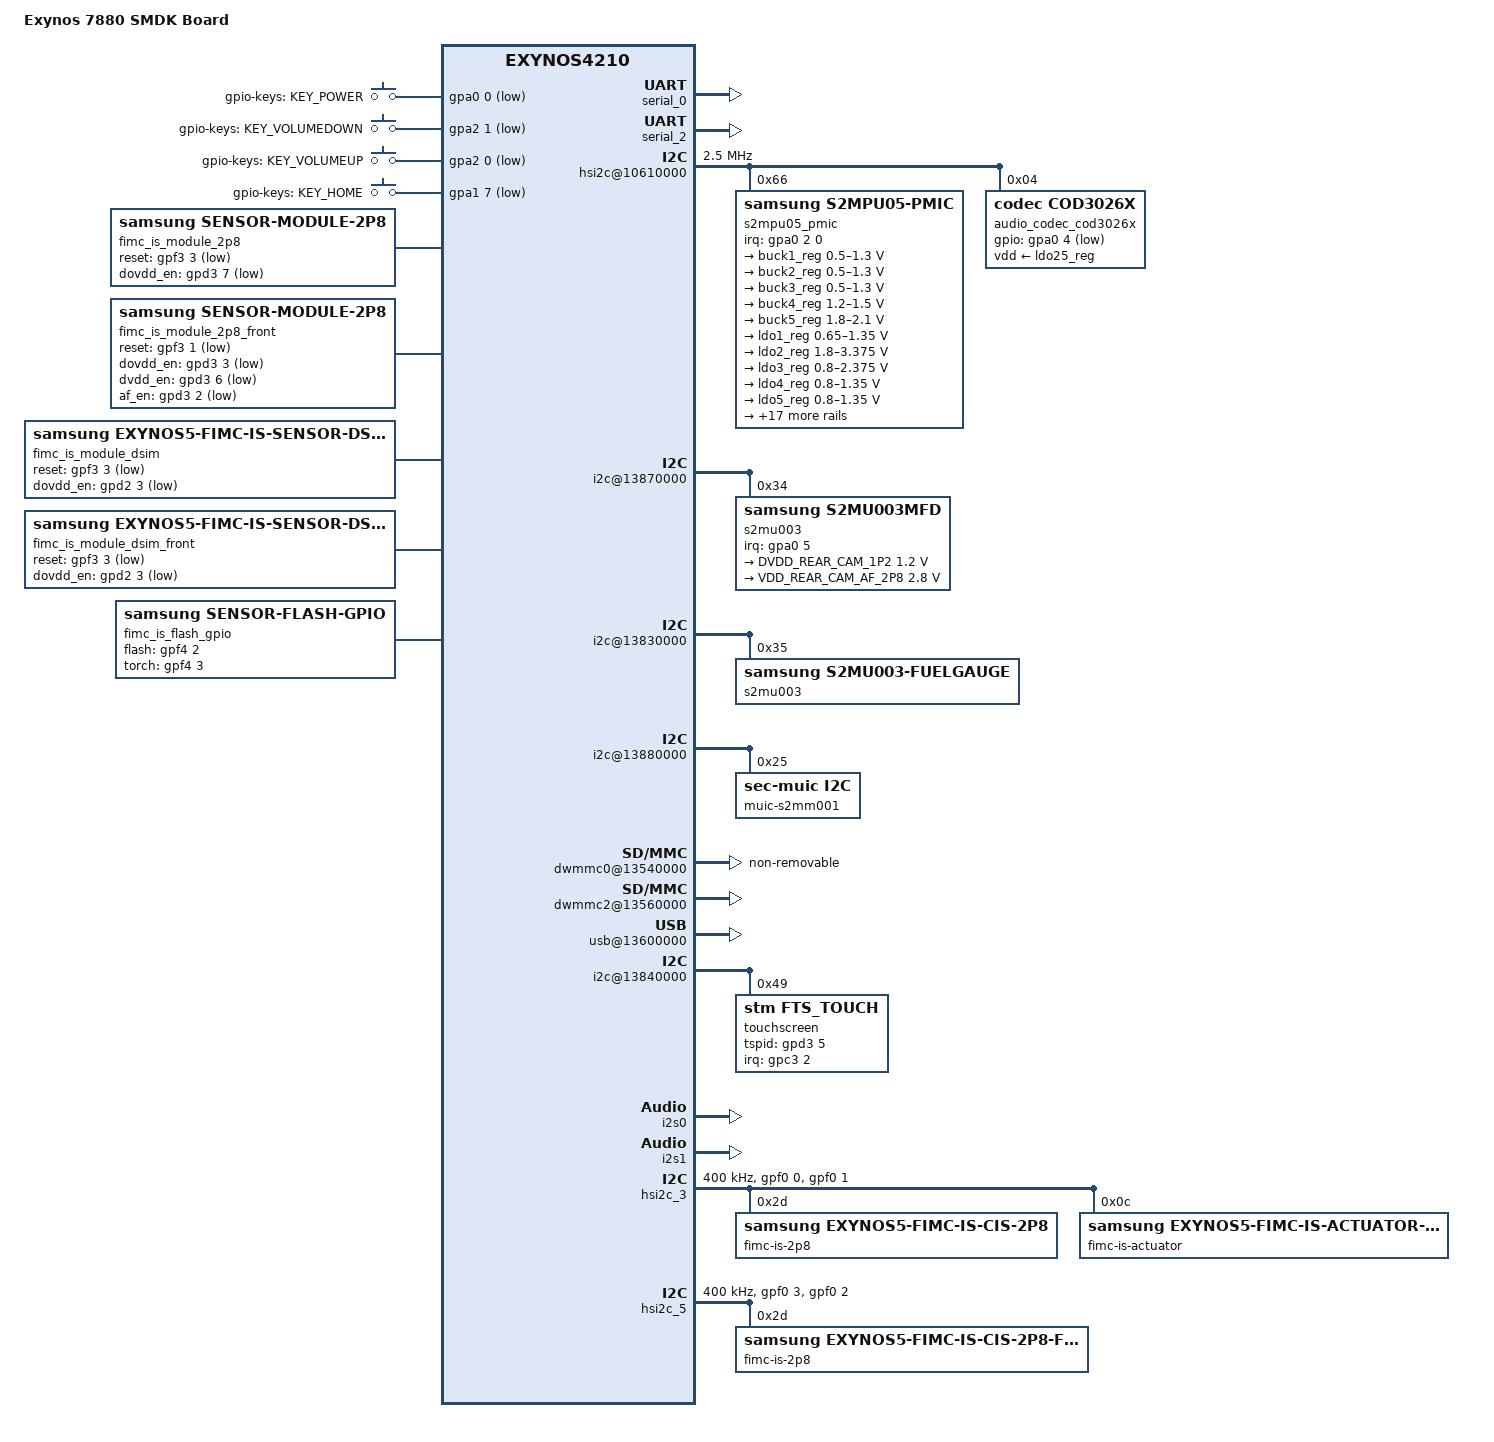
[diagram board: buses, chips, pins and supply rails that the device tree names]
/*
 * SAMSUNG SMDK7880 board device tree source
 *
 * Copyright (c) 2015 Samsung Electronics Co., Ltd.
 *		http://www.samsung.com
 *
 * This program is free software; you can redistribute it and/or modify
 * it under the terms of the GNU General Public License version 2 as
 * published by the Free Software Foundation.
*/

/dts-v1/;
#include "exynos7880-rmem.dtsi"
#include "exynos7880.dtsi"
#include "exynos7880-modem-sh325ap.dtsi"

/ {
	model = "Exynos 7880 SMDK Board";
	compatible = "samsung,exynos7880", "samsung,exynos4210";

	memory@40000000 {
		device_type = "memory";
		reg = <0x0 0x40000000 0xC0000000>;
	};

	chosen {
		bootargs = "earlycon=exynos,0x13820000,115200n8 console=ttySAC2,115200 ess_setup=0x46000000 clk_ignore_unused androidboot.hardware=samsungexynos7880 firmware_class.path=/vendor/firmware reserve-fimc=0";
		linux,initrd-start = <0x52000000>;
		linux,initrd-end = <0x521FFFFF>;
	};

	fixed-rate-clocks {
		oscclk {
			compatible = "samsung,exynos7880-oscclk";
			clock-frequency = <26000000>;
		};
	};

	serial_0: uart@13810000 {
		status = "okay";
	};

	serial_2: uart@13820000 {
		status = "okay";
	};

        gpio_keys {
                compatible = "gpio-keys";
                pinctrl-names = "default";
                pinctrl-0 = <&key_power &key_voldown &key_volup &key_home>;
                #address-cells = <1>;
                #size-cells = <0>;

                button@1 {
                        label = "gpio-keys: KEY_POWER";
                        interrupts = <0 0>;
                        interrupt-parent = <&gpa0>;
                        linux,code = <116>;
                        gpios = <&gpa0 0 0xf>;
                        gpio-key,wakeup = <1>;
                };
                button@2 {
                        label = "gpio-keys: KEY_VOLUMEDOWN";
                        interrupts = <1 0>;
                        interrupt-parent = <&gpa2>;
                        linux,code = <114>;
                        gpios = <&gpa2 1 0xf>;
                };
                button@3 {
                        label = "gpio-keys: KEY_VOLUMEUP";
                        interrupts = <0 0>;
                        interrupt-parent = <&gpa2>;
                        linux,code = <115>;
                        gpios = <&gpa2 0 0xf>;
                };
                button@4 {
                        label = "gpio-keys: KEY_HOME";
                        interrupts = <7 0 0>;
                        interrupt-parent = <&gpa1>;
                        linux,code = <172>;
                        gpios = <&gpa1 7 0xf>;
                        gpio-key,wakeup = <1>;
                };
        };

	pinctrl@139B0000 {
		/* Warm reset information from AP */
		pm_wrsti: pm-wrsti {
			samsung,pins = "gpd1-0";
			samsung,pin-con-pdn = <3>;
		};
	};

	pinctrl@139F0000 {
		pmic_irq: pmic-irq {
			samsung,pins = "gpa0-2";
			samsung,pin-pud = <3>;
			samsung,pin-drv = <3>;
		};

		cod3026_irq: cod3026-irq {
			samsung,pins = "gpa0-4";
			samsung,pin-pud = <3>;
			samsung,pin-drv = <3>;
		};

		if_irq: if-irq {
			samsung,pins = "gpa0-5";
			samsung,pin-pud = <3>;
			samsung,pin-drv = <3>;
		};
	};

	hsi2c@10610000 {
		status = "okay";
		samsung,hs-mode;
		clock-frequency = <2500000>;
		samsung,hsi2c-batcher;
		#address-cells = <1>;
		#size-cells = <0>;

		s2mpu05_pmic@66 {
			compatible = "samsung,s2mpu05-pmic";
			reg = <0x66>;
			ten-bit-address;
			interrupts = <2 0 0>;
			interrupt-parent = <&gpa0>;
			pinctrl-names = "default";
			pinctrl-0 = <&pmic_irq &pm_wrsti>;
			g3d_en = <1>; /* 1 : enable , 0 : disable */
			buck3en_pin = "etc1-3";
			buck3en_addr = "139B0080.pinctrl";
			/* RTC: wtsr/smpl */
			wtsr_en = <1>; /* enable */
			smpl_en = <1>; /* enable */
			wtsr_timer_val = <3>;   /* 1000ms */
			smpl_timer_val = <4>;   /* 500ms */
			check_jigon = <0>; /* do not check jigon */
			/* RTC: If it's first boot, reset rtc to 1/1/2016 12:00:00(Fri) */
			init_time,sec = <0>;
			init_time,min = <0>;
			init_time,hour = <12>;
			init_time,mday = <1>;
			init_time,mon = <0>;
			init_time,year = <116>;
			init_time,wday = <5>;

			regulators {
				buck1_reg: BUCK1 {
					regulator-name = "BUCK1";
					regulator-min-microvolt = <500000>;
					regulator-max-microvolt = <1300000>;
					regulator-always-on;
					regulator-boot-on;
					regulator-ramp-delay = <12000>;
					regulator-initial-mode = <1>;
					regulator-expected-consumer = <2>;
				};

				buck2_reg: BUCK2 {
					regulator-name = "BUCK2";
					regulator-min-microvolt = <500000>;
					regulator-max-microvolt = <1300000>;
					regulator-always-on;
					regulator-boot-on;
					regulator-ramp-delay = <12000>;
					regulator-initial-mode = <3>;
					regulator-expected-consumer = <4>;
				};

				buck3_reg: BUCK3 {
					regulator-name = "vdd_g3d";
					regulator-min-microvolt = <500000>;
					regulator-max-microvolt = <1300000>;
					regulator-always-on;
					regulator-boot-on;
					regulator-ramp-delay = <12000>;
					regulator-initial-mode = <2>;		/* MIF_G3D */
				};

				buck4_reg: BUCK4 {
					regulator-name = "BUCK4";
					regulator-min-microvolt = <1200000>;
					regulator-max-microvolt = <1500000>;
					regulator-always-on;
					regulator-boot-on;
					regulator-ramp-delay = <12000>;
					regulator-initial-mode = <3>;
				};

				buck5_reg: BUCK5 {
					regulator-name = "BUCK5";
					regulator-min-microvolt = <1800000>;
					regulator-max-microvolt = <2100000>;
					regulator-always-on;
					regulator-boot-on;
					regulator-ramp-delay = <12000>;
					regulator-initial-mode = <3>;
				};

				ldo1_reg: LDO1 {
					regulator-name = "vdd_ldo1";
					regulator-min-microvolt = <650000>;
					regulator-max-microvolt = <1350000>;
					regulator-always-on;
					regulator-boot-on;
					regulator-ramp-delay = <12000>;
					regulator-initial-mode = <3>;
				};

				ldo2_reg: LDO2 {
					regulator-name = "vqmmc";
					regulator-min-microvolt = <1800000>;
					regulator-max-microvolt = <3375000>;
					regulator-boot-on;
					regulator-always-on;
					regulator-ramp-delay = <12000>;
					regulator-initial-mode = <1>;
				};

				ldo3_reg: LDO3 {
					regulator-name = "vdd_ldo3";
					regulator-min-microvolt = <800000>;
					regulator-max-microvolt = <2375000>;
					regulator-boot-on;
					regulator-always-on;
					regulator-ramp-delay = <12000>;
					regulator-initial-mode = <3>;
				};

				ldo4_reg: LDO4 {
					regulator-name = "vdd_ldo4";
					regulator-min-microvolt = <800000>;
					regulator-max-microvolt = <1350000>;
					regulator-boot-on;
					regulator-always-on;
					regulator-ramp-delay = <12000>;
					regulator-initial-mode = <2>;
				};

				ldo5_reg: LDO5 {
					regulator-name = "vdd_ldo5";
					regulator-min-microvolt = <800000>;
					regulator-max-microvolt = <1350000>;
					regulator-boot-on;
					regulator-always-on;
					regulator-ramp-delay = <12000>;
					regulator-initial-mode = <3>;
				};

				ldo6_reg: LDO6 {
					regulator-name = "vdd_ldo6";
					regulator-min-microvolt = <800000>;
					regulator-max-microvolt = <1350000>;
					regulator-boot-on;
					regulator-always-on;
					regulator-ramp-delay = <12000>;
					regulator-initial-mode = <2>;
				};

				ldo7_reg: LDO7 {
					regulator-name = "vdd_ldo7";
					regulator-min-microvolt = <800000>;
					regulator-max-microvolt = <2375000>;
					regulator-boot-on;
					regulator-always-on;
					regulator-ramp-delay = <12000>;
					regulator-initial-mode = <1>;
				};

				ldo8_reg: LDO8 {
					regulator-name = "vdd_ldo8";
					regulator-min-microvolt = <1800000>;
					regulator-max-microvolt = <3375000>;
					regulator-boot-on;
					regulator-ramp-delay = <12000>;
					regulator-initial-mode = <0>;
				};

				ldo9_reg: LDO9 {
					regulator-name = "vdd_ldo9";
					regulator-min-microvolt = <650000>;
					regulator-max-microvolt = <1350000>;
					regulator-always-on;
					regulator-ramp-delay = <12000>;
					regulator-initial-mode = <1>;
				};

				ldo10_reg: LDO10 {
					regulator-name = "vdd_ldo10";
					regulator-min-microvolt = <650000>;
					regulator-max-microvolt = <1350000>;
					regulator-always-on;
					regulator-ramp-delay = <12000>;
					regulator-initial-mode = <1>;
				};

				ldo24_reg: LDO24 {
					regulator-name = "vdd_ldo24";
					regulator-min-microvolt = <1800000>;
					regulator-max-microvolt = <1800000>;
					regulator-always-on;
					regulator-ramp-delay = <12000>;
					regulator-initial-mode = <1>;
				};

				ldo25_reg: LDO25 {
					regulator-name = "vdd_ldo25";
					regulator-min-microvolt = <800000>;
					regulator-max-microvolt = <2375000>;
					regulator-always-on;
					regulator-boot-on;
					regulator-ramp-delay = <12000>;
					regulator-initial-mode = <1>;
				};

				ldo26_reg: LDO26 {
					regulator-name = "vdd_ldo26";
					regulator-min-microvolt = <1800000>;
					regulator-max-microvolt = <3375000>;
					regulator-ramp-delay = <12000>;
					regulator-initial-mode = <1>;
					regulator-always-on;
				};

				ldo27_reg: LDO27 {
					regulator-name = "vdd_ldo27";
					regulator-min-microvolt = <800000>;
					regulator-max-microvolt = <2375000>;
					regulator-ramp-delay = <12000>;
					regulator-initial-mode = <1>;
					regulator-always-on;
				};

				ldo28_reg: LDO28 {
					regulator-name = "vmmc";
					regulator-min-microvolt = <1800000>;
					regulator-max-microvolt = <3375000>;
					regulator-always-on;
					regulator-ramp-delay = <12000>;
					regulator-initial-mode = <1>;
				};

				ldo29_reg: LDO29 {
					regulator-name = "vdd_ldo29";
					regulator-min-microvolt = <1800000>;
					regulator-max-microvolt = <3375000>;
					regulator-always-on;
					regulator-ramp-delay = <12000>;
					regulator-initial-mode = <1>;
				};

				ldo30_reg: LDO30 {
					regulator-name = "tsp_io";
					regulator-min-microvolt = <1800000>;
					regulator-max-microvolt = <2375000>;
					regulator-boot-on;
					regulator-always-on;
					regulator-ramp-delay = <12000>;
					regulator-initial-mode = <3>;
				};

				ldo31_reg: LDO31 {
					regulator-name = "vdd_ldo31";
					regulator-min-microvolt = <1800000>;
					regulator-max-microvolt = <3375000>;
					regulator-boot-on;
					regulator-ramp-delay = <12000>;
					regulator-initial-mode = <1>;
				};

				ldo32_reg: LDO32 {
					regulator-name = "vdd_ldo32";
					regulator-min-microvolt = <1800000>;
					regulator-max-microvolt = <3375000>;
					regulator-always-on;
					regulator-ramp-delay = <12000>;
					regulator-initial-mode = <1>;
				};

				ldo33_reg: LDO33 {
					regulator-name = "vdd_ldo33";
					regulator-min-microvolt = <1800000>;
					regulator-max-microvolt = <3375000>;
					regulator-ramp-delay = <12000>;
					regulator-initial-mode = <1>;
				};

				ldo34_reg: LDO34 {
					regulator-name = "vdd_ldo34";
					regulator-min-microvolt = <1800000>;
					regulator-max-microvolt = <3375000>;
					regulator-always-on;
					regulator-ramp-delay = <12000>;
					regulator-initial-mode = <1>;
				};

				ldo35_reg: LDO35 {
					regulator-name = "vdd_ldo35";
					regulator-min-microvolt = <1800000>;
					regulator-max-microvolt = <3375000>;
					regulator-always-on;
					regulator-ramp-delay = <12000>;
					regulator-initial-mode = <1>;
				};
			};
		};

		audio_codec_cod3026x: cod3026x@04 {
			compatible = "codec,cod3026x";
			reg = <0x04>;
			ten-bit-address;
			vdd-supply = <&ldo25_reg>;
			pinctrl-names = "default";
			pinctrl-0 = <&cod3026_irq>;
			interrupt-parent = <&gpa0>;
			gpios = <&gpa0 4 0xf>;
			mic-bias1-voltage = <3>;
			mic-bias2-voltage = <3>;
			mic-bias-ldo-voltage = <3>;
		};
	};

	i2c@13870000 {
		status = "okay";
		s2mu003@34 {
			compatible = "samsung,s2mu003mfd";
			reg = <0x34>;
			fuelgauge_reg = <0x35>;
			pinctrl-names = "default";
			pinctrl-0 = <&if_irq>;
			s2mu003,irq-gpio = <&gpa0 5 0>;

			regulators {
				s2mu003-buck1 {
					regulator-name = "DVDD_REAR_CAM_1P2";
					regulator-min-microvolt = <1200000>;
					regulator-max-microvolt = <1200000>;
				};
				s2mu003-ldo1 {
					regulator-name = "VDD_REAR_CAM_AF_2P8";
					regulator-min-microvolt = <2800000>;
					regulator-max-microvolt = <2800000>;
				};
			};

			leds {
				compatible = "samsung,s2mu003led";
				torch-gpio = <&gpf4 3 0>;
				flash-gpio = <&gpf4 2 0>;

				status = "okay";
				s2mu003-leds1 {
					ledname = "leds-sec1";
					id = <0>;
					brightness = <0x17>;
					timeout = <0x0>;
					max-brightness = <0x15>;
				};

				s2mu003-leds2 {
					ledname = "leds-sec2";
					id = <1>;
					brightness = <0x01>;
					timeout = <0x0>;
					max-brightness = <0xf>;
				};
			};
		};
	};

	s2mu003-charger {
		status = "disable";
		compatible = "samsung,s2mu003-charger";
		battery,is_1MHz_switching = <1>;
		battery,is_fixed_switching = <1>;
		battery,chg_gpio_en = <0>;
		battery,chg_polarity_en = <0>;
		battery,chg_gpio_status = <0>;
		battery,chg_polarity_status = <0>;
		battery,chg_float_voltage = <4400>;
	};

	i2c@13830000 {
		status = "okay";
		s2mu003@34 {
			compatible = "samsung,s2mu003-fuelgauge";
			reg = <0x35>;
			pinctrl-names = "default";
		};
	};

	s2mu003-fuelgauge@35 {
		fuelgauge,fuel_alert_soc = <1>;
		fuelgauge,capacity_max = <1000>;
		fuelgauge,capacity_max_margin = <30>;
		fuelgauge,capacity_min = <0>;
		fuelgauge,capacity_calculation_type = <28>;
		fuelgauge,repeated_fuelalert;
		fuelgauge,type_str = "SDI";
	};

	battery {
		battery,charger_name = "sec-charger";
		battery,fuelgauge_name = "sec-fuelgauge";

		battery,thermal_source = <2>; /* SEC_BATTERY_THERMAL_SOURCE_ADC */
		battery,temp_table_adc = <57 61 71 84 98 138 194 275 391 753 1231>;
		battery,temp_table_data = <600 550 500 450 400 300 200 100 0 (-20) (-40)>;

		battery,input_current_limit = <1800 0 0 1500 460 900 1000 460 1000 0 820 1900 1000 0 0 400 700 1300 300 1000 1500 0 1667 1000 80 1800>;
		battery,fast_charging_current = <2100 0 0 1300 460 1200 1000 460 1200 0 1000 1600 1000 0 0 400 700 1300 300 1000 1500 0 3150 1000 80 1800>;
		battery,full_check_current_1st = <350 0 0 250 250 250 250 250 250 0 250 250 250 0 0 350 350 350 350 350 350 0 350 350 0 350>;
		battery,full_check_current_2nd = <3000 0 0 3000 3000 3000 3000 3000 3000 0 3000 3000 0 0 0 3000 3000 3000 3000 3000 3000 0 3000 3000 3000 3000>;
		battery,input_current_limit_new = <1800 0 0 1500 460 900 1000 460 1000 0 820 1900 1000 0 0 400 700 1300 300 1000 1500 0 1667 1000 80 1800>;
		battery,fast_charging_current_new = <2100 0 0 1700 460 1200 1000 460 1200 0 1000 1600 1000 0 0 400 700 1300 300 1000 1500 0 3150 1000 80 1800>;

	};

	rtc@101A0000 {
		status = "disabled";
	};

	i2c@13880000 {
		status = "okay";
		muic-s2mm001@25 {
			compatible = "sec-muic,i2c";
			reg = <0x25>;
			pinctrl-names = "default";
			muic,muic_int = <&gpa3 2 0>;
		};
	};


        pinctrl@139F0000 {
                key_power: key-power {
                        samsung,pins = "gpa0-0";
                        samsung,pin-function = <0xf>;
                        samsung,pin-pud = <0>;
                        samsung,pin-drv = <0>;
                };

                key_voldown: key-voldown {
                        samsung,pins = "gpa2-1";
                        samsung,pin-function = <0xf>;
                        samsung,pin-pud = <0>;
                        samsung,pin-drv = <0>;
                };

                key_volup: key-volup {
                        samsung,pins = "gpa2-0";
                        samsung,pin-function = <0xf>;
                        samsung,pin-pud = <0>;
                        samsung,pin-drv = <0>;
                };

                key_home: key-home {
                        samsung,pins = "gpa1-7";
                        samsung,pin-function = <0xf>;
                        samsung,pin-pud = <0>;
                        samsung,pin-drv = <0>;
                };
	};

	/*
	pinctrl@139C0000 {
		nfc_pd: gpio-pd {
			samsung,pins = "gpc2-2";
			samsung,pin-function = <0x1>;
			samsung,pin-pud = <0>;
			samsung,pin-drv = <0>;
			samsung,pin-con-pdn = <3>;
			samsung,pin-val = <1>;
		};
	};
	*/

	/* modem_interface */
	mif_pdata {
		reg = <0 0xEFFFF000 0x1000>, <0 0x10000 0x14>;
		/* Set NFC_PD to enable USIM */
		/*
		pinctrl-names = "default";
		pinctrl-0 = <&nfc_pd>;
		*/

		mif,ap_clk_table = <
			/* khz */
			1586000
			1482000
			1378000
			1274000
			1144000
			1040000
			962000
			829000
			757000
			676000
			546000
			449000
			345000
			>;

		mif,mif_clk_table = <
			/* khz */
			933000
			825000
			728000
			667000
			559000
			416000
			273000
			>;
	};

	dwmmc0@13540000 {
		status = "okay";
		num-slots = <1>;
		broken-card-detect;
		bypass-smu;
		fixed_voltage;
		supports-highspeed;
		clock-gate;
		mmc-ddr-1_8v;
		mmc-hs200-1_8v;
		mmc-hs400-1_8v;
		supports-8bit;
		supports-cmd23;
		supports-erase;
		enable-ulp-mode;
		supports-hs400-enhanced-strobe;
		card-init-hwacg-ctrl;
		fifo-depth = <0x40>;
		non-removable;
		desc-size = <4>;
		card-detect-delay = <200>;
		data-timeout = <200>;
		clock-frequency = <800000000>;
		samsung,dw-mshc-ciu-div = <3>;
		samsung,dw-mshc-txdt-crc-timer-fastlimit = <0x34>;
		samsung,dw-mshc-txdt-crc-timer-initval = <0x38>;
		samsung,dw-mshc-ddr200-delay-line = <0x50>;
		samsung,dw-mshc-sdr-timing = <3 0 2 0>;
		samsung,dw-mshc-ddr-timing = <3 0 4 2>;
		samsung,dw-mshc-hs200-timing = <3 0 3 0>;
		samsung,dw-mshc-ddr200-timing = <1 0 2 0>;
		samsung,dw-mshc-ddr200-ulp-timing = <3 0 4 0>;

		num-ref-clks = <12>;
		ciu_clkin = <25 50 50 25 50 100 200 50 50 200 200 200>;

		/* Swapping clock drive strength */
                clk-drive-number = <6>;
                pinctrl-names = "default",
                        "fast-slew-rate-1x",
                        "fast-slew-rate-2x",
                        "fast-slew-rate-3x",
                        "fast-slew-rate-4x",
                        "fast-slew-rate-5x",
                        "fast-slew-rate-6x";
                pinctrl-0 = <&sd0_clk &sd0_cmd &sd0_rdqs &sd0_bus1 &sd0_bus4 &sd0_bus8>;
                pinctrl-1 = <&sd0_clk_fast_slew_rate_1x>;
                pinctrl-2 = <&sd0_clk_fast_slew_rate_2x>;
                pinctrl-3 = <&sd0_clk_fast_slew_rate_3x>;
                pinctrl-4 = <&sd0_clk_fast_slew_rate_4x>;
                pinctrl-5 = <&sd0_clk_fast_slew_rate_5x>;
                pinctrl-6 = <&sd0_clk_fast_slew_rate_6x>;

		slot@0 {
			reg = <0>;
			bus-width = <8>;
		};
	};

	dwmmc1@13550000 {
		status = "disabled";
		num-slots = <1>;
		channel = <1>;
		fixed_voltage;
		clock-gate;
		enable-cclk-on-suspend;
		caps-control;
		supports-highspeed;
		supports-4bit;
		keep-power-in-suspend;
		pm-ignore-notify;
		card-detect-type-external;
		use-broken-voltage;
		use-fine-tuning;
		ignore-phase = <(1 << 7)>;
		fifo-depth = <0x40>;
		card-detect-delay = <200>;
		samsung,dw-mshc-ciu-div = <3>;
		samsung,dw-mshc-sdr-timing = <3 0 2 0>;
		samsung,dw-mshc-ddr-timing = <3 0 2 1>;
		samsung,dw-mshc-sdr50-timing = <3 0 4 2>;
		samsung,dw-mshc-sdr104-timing = <3 0 3 0>;
		clk_pin = "gpr2-0";
		clk_addr = "13750000.pinctrl";
		clk_val = <0x2>;
		clk_str_num = <4>;
		num-ref-clks = <9>;
		ciu_clkin = <25 50 50 25 50 100 200 50 50>;

		pinctrl-names = "default";
		pinctrl-0 = <&sd1_clk &sd1_cmd &sd1_bus1 &sd1_bus4>;
		slot@0 {
			reg = <0>;
			bus-width = <4>;
		};
	};

	decon_f@0x14830000 {
		gpios = <&gpa3 1 0xf>; /* te_signal */
		te_eint {
			/* WEINT_GPA3_PEND(GPA3_1), NWEINT_GPA3_MASK(GPA3_1) */
			reg = <0x0 0x139F0A0C 0x4>, <0x0 0x139F090C 0x4>;
		};
	};

	dsim_0: dsim@0x14800000 {
		lcd_info = <&s6e3ha2>;
		/* lcd reset, power */
		gpios = <&gpd5 2 0x1>, <&gpd5 4 0x1>;
	};

	dsim_1: dsim@0x14810000 {
		lcd_info = <&s6e3ha2>;
		/* lcd reset, power */
		gpios = <&gpd3 4 0x1>, <&gpd1 5 0x1>;
	};

	tmuctrl_0: tmuctrl_CPUCL0@10130000 {
		status = "okay";
		max_trigger_level = <8>;
		non_hw_trigger_levels = <7>;

		/* Throttling Level */
		trigger_levels_0 = <76>;
		trigger_levels_1 = <81>;
		trigger_levels_2 = <86>;
		trigger_levels_3 = <91>;
		trigger_levels_4 = <96>;
		trigger_levels_5 = <101>;
		trigger_levels_6 = <111>;
		trigger_levels_7 = <115>;

		trigger_enable_0 = <ENABLE>;
		trigger_enable_1 = <ENABLE>;
		trigger_enable_2 = <ENABLE>;
		trigger_enable_3 = <ENABLE>;
		trigger_enable_4 = <ENABLE>;
		trigger_enable_5 = <ENABLE>;
		trigger_enable_6 = <ENABLE>;
		trigger_enable_7 = <ENABLE>;

		trigger_type_0 = <THROTTLE_ACTIVE>;
		trigger_type_1 = <THROTTLE_ACTIVE>;
		trigger_type_2 = <THROTTLE_ACTIVE>;
		trigger_type_3 = <THROTTLE_ACTIVE>;
		trigger_type_4 = <THROTTLE_ACTIVE>;
		trigger_type_5 = <THROTTLE_ACTIVE>;
		trigger_type_6 = <THROTTLE_ACTIVE>;
		trigger_type_7 = <HW_TRIP>;

		freq_tab_count = <5>;

		freq_clip_max_0 = <1586000>;
		freq_clip_max_1 = <1274000>;
		freq_clip_max_2 = <1274000>;
		freq_clip_max_3 = <546000>;
		freq_clip_max_4 = <546000>;

		cooling_level_0 = <76>;
		cooling_level_1 = <81>;
		cooling_level_2 = <86>;
		cooling_level_3 = <91>;
		cooling_level_4 = <96>;
	};

	tmuctrl_1: tmuctrl_CPUCL1@10130000 {
		status = "okay";
		max_trigger_level = <8>;
		non_hw_trigger_levels = <7>;

		/* Throttling Level */
		trigger_levels_0 = <76>;
		trigger_levels_1 = <81>;
		trigger_levels_2 = <86>;
		trigger_levels_3 = <91>;
		trigger_levels_4 = <96>;
		trigger_levels_5 = <101>;
		trigger_levels_6 = <111>;
		trigger_levels_7 = <115>;

		trigger_enable_0 = <ENABLE>;
		trigger_enable_1 = <ENABLE>;
		trigger_enable_2 = <ENABLE>;
		trigger_enable_3 = <ENABLE>;
		trigger_enable_4 = <ENABLE>;
		trigger_enable_5 = <ENABLE>;
		trigger_enable_6 = <ENABLE>;
		trigger_enable_7 = <ENABLE>;

		trigger_type_0 = <THROTTLE_ACTIVE>;
		trigger_type_1 = <THROTTLE_ACTIVE>;
		trigger_type_2 = <THROTTLE_ACTIVE>;
		trigger_type_3 = <THROTTLE_ACTIVE>;
		trigger_type_4 = <THROTTLE_ACTIVE>;
		trigger_type_5 = <THROTTLE_ACTIVE>;
		trigger_type_6 = <THROTTLE_ACTIVE>;
		trigger_type_7 = <HW_TRIP>;

		freq_tab_count = <5>;

		freq_clip_max_0 = <1586000>;
		freq_clip_max_1 = <1274000>;
		freq_clip_max_2 = <1274000>;
		freq_clip_max_3 = <546000>;
		freq_clip_max_4 = <546000>;

		cooling_level_0 = <76>;
		cooling_level_1 = <81>;
		cooling_level_2 = <86>;
		cooling_level_3 = <91>;
		cooling_level_4 = <96>;
	};

	tmuctrl_2: tmuctrl_G3D@10130000 {
		status = "okay";
		max_trigger_level = <8>;
		non_hw_trigger_levels = <7>;

		/* Throttling Level */
		trigger_levels_0 = <76>;
		trigger_levels_1 = <81>;
		trigger_levels_2 = <86>;
		trigger_levels_3 = <91>;
		trigger_levels_4 = <96>;
		trigger_levels_5 = <101>;
		trigger_levels_6 = <111>;
		trigger_levels_7 = <115>;

		trigger_enable_0 = <ENABLE>;
		trigger_enable_1 = <ENABLE>;
		trigger_enable_2 = <ENABLE>;
		trigger_enable_3 = <ENABLE>;
		trigger_enable_4 = <ENABLE>;
		trigger_enable_5 = <ENABLE>;
		trigger_enable_6 = <ENABLE>;
		trigger_enable_7 = <ENABLE>;

		trigger_type_0 = <THROTTLE_ACTIVE>;
		trigger_type_1 = <THROTTLE_ACTIVE>;
		trigger_type_2 = <THROTTLE_ACTIVE>;
		trigger_type_3 = <THROTTLE_ACTIVE>;
		trigger_type_4 = <THROTTLE_ACTIVE>;
		trigger_type_5 = <THROTTLE_ACTIVE>;
		trigger_type_6 = <THROTTLE_ACTIVE>;
		trigger_type_7 = <HW_TRIP>;

		freq_tab_count = <6>;

		freq_clip_max_0 = <1246000>;
		freq_clip_max_1 = <1100000>;
		freq_clip_max_2 = <962000>;
		freq_clip_max_3 = <728000>;
		freq_clip_max_4 = <350000>;
		freq_clip_max_5 = <350000>;

		cooling_level_0 = <76>;
		cooling_level_1 = <81>;
		cooling_level_2 = <86>;
		cooling_level_3 = <91>;
		cooling_level_4 = <96>;
		cooling_level_5 = <101>;

		/* gpu cooling related table */
		gpu_idx_num = <6>;
		/* flags, driver_data(index), frequency */
		gpu_cooling_table = < 0 0 1246000
				      0 1 1100000
				      0 2 962000
				      0 3 728000
				      0 4 350000
				      0 5 TABLE_END>;
	};

	s6e3ha2: s6e3ha2_wqhd {
		mode = <2>;		/* 0: video mode, 1: DP command mode, 2: MIPI command mode */
		resolution = <720 2560>;
		size = <70 121>;
		timing,refresh = <60>;
		timing,h-porch = <2 2 2>;
		timing,v-porch = <15 3 1>;
		timing,dsi-hs-clk = <1100>;
		timing,pms = <3 127 0>;
		timing,dsi-escape-clk = <20>;
		mic_en = <0>;		/* 0: Disable, 1: Enable */
		mic_ratio = <0>;	/* 0: 1/2 mic, 1: 1/3 mic */
		mic_ver = <2>;		/* 0: mic v1.1, 1: v1.2, 2: v2.0 */
		type_of_ddi = <0>;	/* 0: Samsung Mobile, 1: MAGNA, 2: Normal(Etc) */
		dsc_en = <0>;		/* 0: Disable, 1: Enable */
		dsc_cnt = <1>;		/* used DSC count */
		dsc_slice_num = <2>;	/* count of dsc slice */
	};

	dwmmc2@13560000 {
		status = "okay";
		num-slots = <1>;
		clock-gate;
		supports-highspeed;
		supports-4bit;
		supports-cmd23;
		supports-erase;
		sd-uhs-sdr50;
		sd-uhs-sdr104;
		card-detect-gpio;
		bypass-smu;
		bypass-for-allpass;
		use-fine-tuning;
		card-init-hwacg-ctrl;
		switch_transfer;
		only_once_tune;
		skip-init-mmc-scan;
		ignore-phase = <(1 << 7)>;
		fifo-depth = <0x40>;
		desc-size = <4>;
		card-detect-delay = <200>;
		data-timeout = <200>;
		hto-timeout = <550>;
		samsung,dw-mshc-ciu-div = <3>;
		clock-frequency = <800000000>;
		samsung,dw-mshc-sdr-timing = <3 0 2 0>;
		samsung,dw-mshc-ddr-timing = <3 0 2 1>;
		samsung,dw-mshc-sdr50-timing = <3 0 4 2>;
		samsung,dw-mshc-sdr104-timing = <3 0 3 0>;

		num-ref-clks = <9>;
		ciu_clkin = <25 50 50 25 50 100 200 50 50>;

		/* Swapping clock drive strength */
		clk-drive-number = <4>;
		pinctrl-names = "default",
			"fast-slew-rate-1x",
			"fast-slew-rate-2x",
			"fast-slew-rate-3x",
			"fast-slew-rate-4x";
		pinctrl-0 = <&sd2_clk &sd2_cmd &sd2_bus1 &sd2_bus4 &dwmmc2_cd_ext_irq>;
		pinctrl-1 = <&sd2_clk_fast_slew_rate_1x>;
		pinctrl-2 = <&sd2_clk_fast_slew_rate_2x>;
		pinctrl-3 = <&sd2_clk_fast_slew_rate_3x>;
		pinctrl-4 = <&sd2_clk_fast_slew_rate_4x>;

		card-detect = <&gpa0 1 0xf>;
		slot@0 {
			reg = <0>;
			bus-width = <4>;
			disable-wp;
		};
	};

	usb@13600000 {
		vdd33-supply = <&ldo8_reg>;
		vdd10-supply = <&ldo1_reg>;
		dwc3-vbus-supply = <&ldo3_reg>;
		status = "okay";

		dwc3 {
			maximum-speed = "high-speed";
			dr_mode = "otg";
			is_not_vbus_pad;
		};
	};

	usbphy@135c0000 {
		status = "okay";
	};

	usb_notifier {
		compatible = "samsung,usb-notifier";
		udc = <&udc>;
	};

	pinctrl@139B0000 {
		tsp_id: tsp-id {
			samsung,pins = "gpd3-5";
			samsung,pin-function = <0x0>;
			samsung,pin-pud = <0>;
			samsung,pin-drv = <0>;
		};
	};

	pinctrl@139D0000 {
		attn_irq: attn-irq {
			samsung,pins = "gpc3-2";
			samsung,pin-function = <0xf>;
			samsung,pin-pud = <0>;
			samsung,pin-drv = <0>;
		};
		attn_input: attn-input {
			samsung,pins = "gpc3-2";
			samsung,pin-function = <0>;
			samsung,pin-pud = <1>;
			samsung,pin-drv = <0>;
		};
	};

	i2c@13840000 {
		status = "okay";
		samsung,i2c-max-bus-freq = <400000>;
		touchscreen@49 {
			compatible = "stm,fts_touch";
			reg = <0x49>;
			pinctrl-names = "on_state", "off_state";
			pinctrl-0 = <&attn_irq &tsp_id>;
			pinctrl-1 = <&attn_input>;
			stm,tspid_gpio = <&gpd3 5 0>;
			stm,irq_gpio = <&gpc3 2 0>;
			stm,irq_type = <8200>;
			stm,max_coords = <1439 2559>;	/* x y */
			stm,regulator_dvdd = "tsp_io";
			stm,regulator_avdd = "vdd_ldo31";
			stm,project_name = "joon", "smdk7880";
			stm,firmware_name = "tsp_stm/stm_v5583.fw";
		};
	};

	s1402x: s1402x@14880000 {
		pinctrl-names = "default", "idle";
		pinctrl-0 = <&i2s_pmic_bus
				&i2s_amp_bus>;
		pinctrl-1 = <&i2s_pmic_bus_idle
				&i2s_amp_bus_idle> ;
		bck-mcko-mode;
		status = "okay";
	};

	i2s0: i2s@148A0000 {
		status = "okay";
	};

	i2s1: i2s@148B0000 {
		status = "okay";
	};

	audio_cp_dummy: cp_dummy {
			compatible = "samsung,cp_dummy";
			status = "okay";
	};

	audio_fm_dummy: fm_dummy {
			compatible = "samsung,fm_dummy";
			status = "okay";
	};

	audio_bt_dummy: bt_dummy {
			compatible = "samsung,bt_dummy";
			status = "okay";
	};

	audio_codec_dummy: dummy-codec {
			compatible = "samsung,dummy-codec";
			status = "okay";
	};

	sound {
		compatible = "samsung,smdk7880-cod3026x";
		samsung,audio-cpu = <&i2s0	/* primary */
			&i2s0			 /* secondary */
			&audio_cp_dummy
			&audio_bt_dummy
			&audio_fm_dummy
			&i2s1			/*AMP for AP */
			&audio_cp_dummy>;	/*AMP for CP */
		samsung,audio-codec = <&audio_codec_cod3026x
			&audio_codec_cod3026x
			&audio_codec_cod3026x
			&audio_codec_dummy
			&audio_codec_cod3026x
			&audio_codec_dummy
			&audio_codec_dummy>;

		samsung,auxdev = <&s1402x>;
		status = "okay";
	};

	fimc_is@14400000 {
		rear_sensor_id = <20>; /* 2P8 */
		front_sensor_id = <20>; /* 2P8 */
		use_module_check;
		skip_cal_loading;
		fimc_is_dvfs {
			#define DVFS_INT_L0 690000
			#define DVFS_INT_L1 680000
			#define DVFS_INT_L2 670000
			#define DVFS_INT_L3 660000
			#define DVFS_INT_L4 650000
			#define DVFS_INT_L5 640000
			#define DVFS_INT_L6 630000
			#define DVFS_INT_L7 620000
			#define DVFS_INT_L8 610000
			#define DVFS_INT_L9 600000
			#define DVFS_INT_L10 468000
			#define DVFS_INT_L11 400000
			#define DVFS_INT_L12 336000
			#define DVFS_INT_L13 255000
			#define DVFS_INT_L14 200000
			#define DVFS_INT_L15 168000
			#define DVFS_INT_L16 127000

			#define DVFS_CAM_L0 690000
			#define DVFS_CAM_L1 680000
			#define DVFS_CAM_L2 670000
			#define DVFS_CAM_L3 660000
			#define DVFS_CAM_L4 650000
			#define DVFS_CAM_L5 640000
			#define DVFS_CAM_L6 630000
			#define DVFS_CAM_L7 620000
			#define DVFS_CAM_L8 610000
			#define DVFS_CAM_L9 600000

			#define DVFS_MIF_L0 1794000
			#define DVFS_MIF_L1 1716000
			#define DVFS_MIF_L2 1539000
			#define DVFS_MIF_L3 1352000
			#define DVFS_MIF_L4 1144000
			#define DVFS_MIF_L5 1014000
			#define DVFS_MIF_L6 845000
			#define DVFS_MIF_L7 676000
			#define DVFS_MIF_L8 546000
			#define DVFS_MIF_L9 421000
			#define DVFS_MIF_L10 286000
			#define DVFS_MIF_L11 208000

			table0 {
				desc = "default Max version";

				default_int = <DVFS_INT_L0>;
				default_cam = <DVFS_CAM_L0>;
				default_mif = <DVFS_MIF_L0>;
				default_i2c = <0>;

				front_preview_int = <DVFS_INT_L0>;
				front_preview_cam = <DVFS_CAM_L0>;
				front_preview_mif = <DVFS_MIF_L0>;
				front_preview_i2c = <0>;

				front_capture_int = <DVFS_INT_L0>;
				front_capture_cam = <DVFS_CAM_L0>;
				front_capture_mif = <DVFS_MIF_L0>;
				front_capture_i2c = <0>;

				front_video_int = <DVFS_INT_L0>;
				front_video_cam = <DVFS_CAM_L0>;
				front_video_mif = <DVFS_MIF_L0>;
				front_video_i2c = <0>;

				front_video_whd_int = <DVFS_INT_L0>;
				front_video_whd_cam = <DVFS_CAM_L0>;
				front_video_whd_mif = <DVFS_MIF_L0>;
				front_video_whd_i2c = <0>;

				front_video_capture_int = <DVFS_INT_L0>;
				front_video_capture_cam = <DVFS_CAM_L0>;
				front_video_capture_mif = <DVFS_MIF_L0>;
				front_video_capture_i2c = <0>;

				front_video_whd_capture_int = <DVFS_INT_L0>;
				front_video_whd_capture_cam = <DVFS_CAM_L0>;
				front_video_whd_capture_mif = <DVFS_MIF_L0>;
				front_video_whd_capture_i2c = <0>;

				front_vt1_int = <DVFS_INT_L0>;
				front_vt1_cam = <DVFS_CAM_L0>;
				front_vt1_mif = <DVFS_MIF_L0>;
				front_vt1_i2c = <0>;

				front_vt2_int = <DVFS_INT_L0>;
				front_vt2_cam = <DVFS_CAM_L0>;
				front_vt2_mif = <DVFS_MIF_L0>;
				front_vt2_i2c = <0>;

				front_companion_preview_int = <DVFS_INT_L0>;
				front_companion_preview_cam = <DVFS_CAM_L0>;
				front_companion_preview_mif = <DVFS_MIF_L0>;
				front_companion_preview_i2c = <0>;

				front_companion_capture_int = <DVFS_INT_L0>;
				front_companion_capture_cam = <DVFS_CAM_L0>;
				front_companion_capture_mif = <DVFS_MIF_L0>;
				front_companion_capture_i2c = <0>;

				front_companion_video_int = <DVFS_INT_L0>;
				front_companion_video_cam = <DVFS_CAM_L0>;
				front_companion_video_mif = <DVFS_MIF_L0>;
				front_companion_video_i2c = <0>;

				front_companion_video_whd_int = <DVFS_INT_L0>;
				front_companion_video_whd_cam = <DVFS_CAM_L0>;
				front_companion_video_whd_mif = <DVFS_MIF_L0>;
				front_companion_video_whd_i2c = <0>;

				front_companion_video_capture_int = <DVFS_INT_L0>;
				front_companion_video_capture_cam = <DVFS_CAM_L0>;
				front_companion_video_capture_mif = <DVFS_MIF_L0>;
				front_companion_video_capture_i2c = <0>;

				front_companion_video_whd_capture_int = <DVFS_INT_L0>;
				front_companion_video_whd_capture_cam = <DVFS_CAM_L0>;
				front_companion_video_whd_capture_mif = <DVFS_MIF_L0>;
				front_companion_video_whd_capture_i2c = <0>;

				rear_preview_fhd_int = <DVFS_INT_L0>;
				rear_preview_fhd_cam = <DVFS_CAM_L0>;
				rear_preview_fhd_mif = <DVFS_MIF_L0>;
				rear_preview_fhd_i2c = <0>;

				rear_preview_whd_int = <DVFS_INT_L0>;
				rear_preview_whd_cam = <DVFS_CAM_L0>;
				rear_preview_whd_mif = <DVFS_MIF_L0>;
				rear_preview_whd_i2c = <0>;

				rear_preview_uhd_int = <DVFS_INT_L0>;
				rear_preview_uhd_cam = <DVFS_CAM_L0>;
				rear_preview_uhd_mif = <DVFS_MIF_L0>;
				rear_preview_uhd_i2c = <0>;

				rear_capture_int = <DVFS_INT_L0>;
				rear_capture_cam = <DVFS_CAM_L0>;
				rear_capture_mif = <DVFS_MIF_L0>;
				rear_capture_i2c = <0>;

				rear_video_fhd_int = <DVFS_INT_L0>;
				rear_video_fhd_cam = <DVFS_CAM_L0>;
				rear_video_fhd_mif = <DVFS_MIF_L0>;
				rear_video_fhd_i2c = <0>;

				rear_video_uhd_int = <DVFS_INT_L0>;
				rear_video_uhd_cam = <DVFS_CAM_L0>;
				rear_video_uhd_mif = <DVFS_MIF_L0>;
				rear_video_uhd_i2c = <0>;

				rear_video_fhd_capture_int = <DVFS_INT_L0>;
				rear_video_fhd_capture_cam = <DVFS_CAM_L0>;
				rear_video_fhd_capture_mif = <DVFS_MIF_L0>;
				rear_video_fhd_capture_i2c = <0>;

				rear_video_uhd_capture_int = <DVFS_INT_L0>;
				rear_video_uhd_capture_cam = <DVFS_CAM_L0>;
				rear_video_uhd_capture_mif = <DVFS_MIF_L0>;
				rear_video_uhd_capture_i2c = <0>;

				dual_preview_int = <DVFS_INT_L0>;
				dual_preview_cam = <DVFS_CAM_L0>;
				dual_preview_mif = <DVFS_MIF_L0>;
				dual_preview_i2c = <0>;

				dual_capture_int = <DVFS_INT_L0>;
				dual_capture_cam = <DVFS_CAM_L0>;
				dual_capture_mif = <DVFS_MIF_L0>;
				dual_capture_i2c = <0>;

				dual_video_int = <DVFS_INT_L0>;
				dual_video_cam = <DVFS_CAM_L0>;
				dual_video_mif = <DVFS_MIF_L0>;
				dual_video_i2c = <0>;

				dual_video_capture_int = <DVFS_INT_L0>;
				dual_video_capture_cam = <DVFS_CAM_L0>;
				dual_video_capture_mif = <DVFS_MIF_L0>;
				dual_video_capture_i2c = <0>;

				preview_high_speed_fps_int = <DVFS_INT_L0>;
				preview_high_speed_fps_cam = <DVFS_CAM_L0>;
				preview_high_speed_fps_mif = <DVFS_MIF_L0>;
				preview_high_speed_fps_i2c = <0>;

				video_high_speed_60fps_int = <DVFS_INT_L0>;
				video_high_speed_60fps_cam = <DVFS_CAM_L0>;
				video_high_speed_60fps_mif = <DVFS_MIF_L0>;
				video_high_speed_60fps_i2c = <0>;

				video_high_speed_120fps_int = <DVFS_INT_L0>;
				video_high_speed_120fps_cam = <DVFS_CAM_L0>;
				video_high_speed_120fps_mif = <DVFS_MIF_L0>;
				video_high_speed_120fps_i2c = <0>;

				video_high_speed_240fps_int = <DVFS_INT_L0>;
				video_high_speed_240fps_cam = <DVFS_CAM_L0>;
				video_high_speed_240fps_mif = <DVFS_MIF_L0>;
				video_high_speed_240fps_i2c = <0>;

				max_int = <DVFS_INT_L0>;
				max_cam = <DVFS_CAM_L0>;
				max_mif = <DVFS_MIF_L0>;
				max_i2c = <0>;
			};

			table1 {
				desc = "default Max version";

				default_int = <DVFS_INT_L0>;
				default_cam = <DVFS_CAM_L0>;
				default_mif = <DVFS_MIF_L0>;
				default_i2c = <0>;

				front_preview_int = <DVFS_INT_L0>;
				front_preview_cam = <DVFS_CAM_L0>;
				front_preview_mif = <DVFS_MIF_L0>;
				front_preview_i2c = <0>;

				front_capture_int = <DVFS_INT_L0>;
				front_capture_cam = <DVFS_CAM_L0>;
				front_capture_mif = <DVFS_MIF_L0>;
				front_capture_i2c = <0>;

				front_video_int = <DVFS_INT_L0>;
				front_video_cam = <DVFS_CAM_L0>;
				front_video_mif = <DVFS_MIF_L0>;
				front_video_i2c = <0>;

				front_video_whd_int = <DVFS_INT_L0>;
				front_video_whd_cam = <DVFS_CAM_L0>;
				front_video_whd_mif = <DVFS_MIF_L0>;
				front_video_whd_i2c = <0>;

				front_video_capture_int = <DVFS_INT_L0>;
				front_video_capture_cam = <DVFS_CAM_L0>;
				front_video_capture_mif = <DVFS_MIF_L0>;
				front_video_capture_i2c = <0>;

				front_video_whd_capture_int = <DVFS_INT_L0>;
				front_video_whd_capture_cam = <DVFS_CAM_L0>;
				front_video_whd_capture_mif = <DVFS_MIF_L0>;
				front_video_whd_capture_i2c = <0>;

				front_vt1_int = <DVFS_INT_L0>;
				front_vt1_cam = <DVFS_CAM_L0>;
				front_vt1_mif = <DVFS_MIF_L0>;
				front_vt1_i2c = <0>;

				front_vt2_int = <DVFS_INT_L0>;
				front_vt2_cam = <DVFS_CAM_L0>;
				front_vt2_mif = <DVFS_MIF_L0>;
				front_vt2_i2c = <0>;

				front_companion_preview_int = <DVFS_INT_L0>;
				front_companion_preview_cam = <DVFS_CAM_L0>;
				front_companion_preview_mif = <DVFS_MIF_L0>;
				front_companion_preview_i2c = <0>;

				front_companion_capture_int = <DVFS_INT_L0>;
				front_companion_capture_cam = <DVFS_CAM_L0>;
				front_companion_capture_mif = <DVFS_MIF_L0>;
				front_companion_capture_i2c = <0>;

				front_companion_video_int = <DVFS_INT_L0>;
				front_companion_video_cam = <DVFS_CAM_L0>;
				front_companion_video_mif = <DVFS_MIF_L0>;
				front_companion_video_i2c = <0>;

				front_companion_video_whd_int = <DVFS_INT_L0>;
				front_companion_video_whd_cam = <DVFS_CAM_L0>;
				front_companion_video_whd_mif = <DVFS_MIF_L0>;
				front_companion_video_whd_i2c = <0>;

				front_companion_video_capture_int = <DVFS_INT_L0>;
				front_companion_video_capture_cam = <DVFS_CAM_L0>;
				front_companion_video_capture_mif = <DVFS_MIF_L0>;
				front_companion_video_capture_i2c = <0>;

				front_companion_video_whd_capture_int = <DVFS_INT_L0>;
				front_companion_video_whd_capture_cam = <DVFS_CAM_L0>;
				front_companion_video_whd_capture_mif = <DVFS_MIF_L0>;
				front_companion_video_whd_capture_i2c = <0>;

				rear_preview_fhd_int = <DVFS_INT_L0>;
				rear_preview_fhd_cam = <DVFS_CAM_L0>;
				rear_preview_fhd_mif = <DVFS_MIF_L0>;
				rear_preview_fhd_i2c = <0>;

				rear_preview_whd_int = <DVFS_INT_L0>;
				rear_preview_whd_cam = <DVFS_CAM_L0>;
				rear_preview_whd_mif = <DVFS_MIF_L0>;
				rear_preview_whd_i2c = <0>;

				rear_preview_uhd_int = <DVFS_INT_L0>;
				rear_preview_uhd_cam = <DVFS_CAM_L0>;
				rear_preview_uhd_mif = <DVFS_MIF_L0>;
				rear_preview_uhd_i2c = <0>;

				rear_capture_int = <DVFS_INT_L0>;
				rear_capture_cam = <DVFS_CAM_L0>;
				rear_capture_mif = <DVFS_MIF_L0>;
				rear_capture_i2c = <0>;

				rear_video_fhd_int = <DVFS_INT_L0>;
				rear_video_fhd_cam = <DVFS_CAM_L0>;
				rear_video_fhd_mif = <DVFS_MIF_L0>;
				rear_video_fhd_i2c = <0>;

				rear_video_uhd_int = <DVFS_INT_L0>;
				rear_video_uhd_cam = <DVFS_CAM_L0>;
				rear_video_uhd_mif = <DVFS_MIF_L0>;
				rear_video_uhd_i2c = <0>;

				rear_video_fhd_capture_int = <DVFS_INT_L0>;
				rear_video_fhd_capture_cam = <DVFS_CAM_L0>;
				rear_video_fhd_capture_mif = <DVFS_MIF_L0>;
				rear_video_fhd_capture_i2c = <0>;

				rear_video_uhd_capture_int = <DVFS_INT_L0>;
				rear_video_uhd_capture_cam = <DVFS_CAM_L0>;
				rear_video_uhd_capture_mif = <DVFS_MIF_L0>;
				rear_video_uhd_capture_i2c = <0>;

				dual_preview_int = <DVFS_INT_L0>;
				dual_preview_cam = <DVFS_CAM_L0>;
				dual_preview_mif = <DVFS_MIF_L0>;
				dual_preview_i2c = <0>;

				dual_capture_int = <DVFS_INT_L0>;
				dual_capture_cam = <DVFS_CAM_L0>;
				dual_capture_mif = <DVFS_MIF_L0>;
				dual_capture_i2c = <0>;

				dual_video_int = <DVFS_INT_L0>;
				dual_video_cam = <DVFS_CAM_L0>;
				dual_video_mif = <DVFS_MIF_L0>;
				dual_video_i2c = <0>;

				dual_video_capture_int = <DVFS_INT_L0>;
				dual_video_capture_cam = <DVFS_CAM_L0>;
				dual_video_capture_mif = <DVFS_MIF_L0>;
				dual_video_capture_i2c = <0>;

				preview_high_speed_fps_int = <DVFS_INT_L0>;
				preview_high_speed_fps_cam = <DVFS_CAM_L0>;
				preview_high_speed_fps_mif = <DVFS_MIF_L0>;
				preview_high_speed_fps_i2c = <0>;

				video_high_speed_60fps_int = <DVFS_INT_L0>;
				video_high_speed_60fps_cam = <DVFS_CAM_L0>;
				video_high_speed_60fps_mif = <DVFS_MIF_L0>;
				video_high_speed_60fps_i2c = <0>;

				video_high_speed_120fps_int = <DVFS_INT_L0>;
				video_high_speed_120fps_cam = <DVFS_CAM_L0>;
				video_high_speed_120fps_mif = <DVFS_MIF_L0>;
				video_high_speed_120fps_i2c = <0>;

				video_high_speed_240fps_int = <DVFS_INT_L0>;
				video_high_speed_240fps_cam = <DVFS_CAM_L0>;
				video_high_speed_240fps_mif = <DVFS_MIF_L0>;
				video_high_speed_240fps_i2c = <0>;

				max_int = <DVFS_INT_L0>;
				max_cam = <DVFS_CAM_L0>;
				max_mif = <DVFS_MIF_L0>;
				max_i2c = <0>;
			};
		};
	};

	fimc_is_module_2p8: fimc-is_sensor_2p8@5A {
		compatible = "samsung,sensor-module-2p8";

		pinctrl-names = "pin0", "pin1";
		pinctrl-0 = <&fimc_is_mclk0_in &fimc_is_flash>;
		pinctrl-1 = <&fimc_is_mclk0_fn &fimc_is_flash>;

		position = <0>; /* Rear:0. Front:1 */
		id = <0>; /* sensor node id */
		mclk_ch = <0>;
		sensor_i2c_ch = <0>; /* I2C 0 */
		sensor_i2c_addr = <0x5A>;

		gpio_reset = <&gpf3 3 0x1>; /* sensor reset */
		gpio_dovdd_en = <&gpd3 7 0x1>; /* REAR_DOVDD_1P8 enable pin */
		status = "okay";

		/* TODO : need to update */
		af {
			product_name = <7>;
			i2c_addr = <0x18>;
			i2c_ch = <0>; /* I2C 0 */
		};

		/* TODO : need to update */
		flash {
			product_name = <11>; /* FLASH_GPIO */
			flash_first_gpio = <2>;
			flash_second_gpio = <1>;
		};
	};

	fimc_is_module_2p8_front: fimc-is_sensor_2p8_front@5A {
		compatible = "samsung,sensor-module-2p8";

		pinctrl-names = "pin0", "pin1";
		pinctrl-0 = <&fimc_is_mclk1_in>;
		pinctrl-1 = <&fimc_is_mclk1_fn>;

		position = <1>; /* Rear:0. Front:1 */
		id = <1>; /* sensor node id */
		mclk_ch = <1>;
		sensor_i2c_ch = <1>; /* I2C 0 */
		sensor_i2c_addr = <0x5A>;

		gpio_reset = <&gpf3 1 0x1>;
		gpio_dovdd_en = <&gpd3 3 0x1>; /* FRONT_DOVDD_1P8 enable pin */
		gpio_dvdd_en = <&gpd3 6 0x1>; /* FRONT_DVDD_1P2 enable pin */
		gpio_af_en = <&gpd3 2 0x1>; /* FRONT_CAM_AF_2P8 enable pin */
		status = "okay";
	};

	fimc_is_module_dsim: fimc-is_sensor_dsim {
		compatible = "samsung,exynos5-fimc-is-sensor-dsim";

		pinctrl-names = "pin0", "pin1";
		pinctrl-0 = <&fimc_is_mclk0_in &fimc_is_flash>;
		pinctrl-1 = <&fimc_is_mclk0_fn &fimc_is_flash>;

		position = <0>; /* Rear:0. Front:1 */
		id = <0>; /* sensor node id */
		mclk_ch = <0>;
		sensor_i2c_ch = <0>; /* I2C 0 */
		sensor_i2c_addr = <0x5A>;

		gpio_reset = <&gpf3 3 0x1>; /* sensor reset */
		gpio_dovdd_en = <&gpd2 3 0x1>; /* DOVDD_1P8 enable pin */
		status = "okay";
	};

	fimc_is_module_dsim_front: fimc-is_sensor_dsim_front {
		compatible = "samsung,exynos5-fimc-is-sensor-dsim_front";

		pinctrl-names = "pin0", "pin1";
		pinctrl-0 = <&fimc_is_mclk0_in &fimc_is_flash>;
		pinctrl-1 = <&fimc_is_mclk0_fn &fimc_is_flash>;

		position = <1>; /* Rear:0. Front:1 */
		id = <1>; /* sensor node id */
		mclk_ch = <1>;
		sensor_i2c_ch = <0>; /* I2C 0 */
		sensor_i2c_addr = <0x5A>;

		gpio_reset = <&gpf3 3 0x1>; /* sensor reset */
		gpio_dovdd_en = <&gpd2 3 0x1>; /* DOVDD_1P8 enable pin */
		status = "okay";
	};

	fimc_is_flash_gpio: fimc-is-flash_gpio@0 {
		compatible = "samsung,sensor-flash-gpio";
		id = <0>; /* matching sensor id */
		status = "okay";

		/* TODO : need to update */
		flash-gpio = <&gpf4 2 0>;
		torch-gpio = <&gpf4 3 0>;
	};

	hsi2c_3: hsi2c@138A0000 {
		gpios = <&gpf0 0 0 &gpf0 1 0>;
		status = "okay";
		clock-frequency = <400000>;

		pinctrl-names = "default";
		pinctrl-0 = <&hs_i2c3_bus>;

		fimc-is-2p8@5A {
			compatible = "samsung,exynos5-fimc-is-cis-2p8";
			reg = <0x2D>;
			id = <0>; /* matching sensor id */
			setfile = "default";
		};

		fimc-is-actuator@18 {
			compatible = "samsung,exynos5-fimc-is-actuator-ak7345";
			reg = <0x0C>;
			id = <0>; /* matching sensor id */
		};
	};

	hsi2c_5: hsi2c@138C0000 {
		gpios = <&gpf0 3 0 &gpf0 2 0>;
		status = "okay";
		clock-frequency = <400000>;

		pinctrl-names = "default";
		pinctrl-0 = <&hs_i2c5_bus>;

		fimc-is-2p8@5A {
			compatible = "samsung,exynos5-fimc-is-cis-2p8-front";
			reg = <0x2D>;
			id = <1>; /* matching sensor id */
			setfile = "default";
		};
	};

	#define SENSOR_SCENARIO_NORMAL		0
	#define SENSOR_SCENARIO_VISION		1
	#define SENSOR_SCENARIO_EXTERNAL	2
	#define SENSOR_SCENARIO_OIS_FACTORY	3
	#define SENSOR_SCENARIO_VIRTUAL		9
	#define FLITE_ID_NOTHING 100

	fimc_is_sensor0: fimc_is_sensor@14420000 {
		scenario = <SENSOR_SCENARIO_NORMAL>;	/* Normal, Vision, OIS etc */
		id = <0>;
		csi_ch = <0>;
		flite_ch = <0>;
		is_bns = <1>;
		status = "okay";
	};

	fimc_is_sensor1: fimc_is_sensor@14460000 {
		scenario = <SENSOR_SCENARIO_NORMAL>;	/* Normal, Vision, OIS etc */
		id = <1>;
		csi_ch = <1>;
		flite_ch = <0>;
		is_bns = <1>;
		status = "okay";
	};
};
